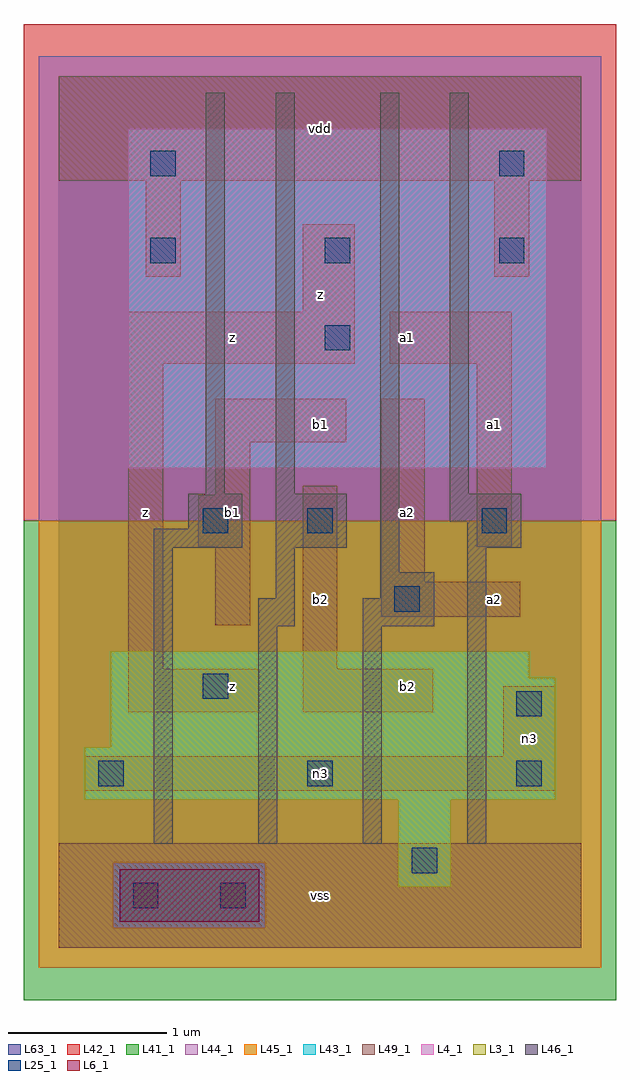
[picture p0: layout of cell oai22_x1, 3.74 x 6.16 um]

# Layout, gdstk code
import gdstk
lib = gdstk.Library(unit=1e-6, precision=1e-09)
def R(c, l, rs):  # rectangles x0, y0, x1, y1
    for r in rs: c.add(gdstk.rectangle(r[:2], r[2:], *l))
def A(c, l, x, y, w, h, nx, ny, dx, dy):  # array of equal rectangles
    R(c, l, [(x+i*dx, y+j*dy, x+i*dx+w, y+j*dy+h) for i in range(nx) for j in range(ny)])
L3_1 = (3, 1)
L4_1 = (4, 1)
L6_1 = (6, 1)
L25_1 = (25, 1)
L41_1 = (41, 1)
L42_1 = (42, 1)
L43_1 = (43, 1)
L44_1 = (44, 1)
L45_1 = (45, 1)
L46_1 = (46, 1)
L49_1 = (49, 1)
L63_1 = (63, 1)

oai22_x1 = lib.new_cell('oai22_x1')
R(oai22_x1, L3_1, [(2.145,0.385,2.475,0.935), (0.165,0.935,3.135,1.265), (0.33,1.265,3.135,1.705), (0.33,1.705,2.97,1.87)])
R(oai22_x1, L4_1, [(0.44,3.025,3.08,5.17)])
R(oai22_x1, L6_1, [(0.385,0.165,1.265,0.495)])
A(oai22_x1, L25_1, 0.25, 1.02, 0.16, 0.16, 3, 1, 1.32, 0)
A(oai22_x1, L25_1, 0.58, 4.32, 0.16, 0.16, 3, 1, 1.1, 0)
R(oai22_x1, L25_1, [(0.47,0.25,0.63,0.41), (1.02,0.25,1.18,0.41), (2.23,0.47,2.39,0.63), (2.89,1.46,3.05,1.62), (0.91,1.57,1.07,1.73), (2.12,2.12,2.28,2.28), (0.91,2.615,1.07,2.775), (1.57,2.615,1.73,2.775), (2.67,2.615,2.83,2.775), (1.68,3.77,1.84,3.93), (0.58,4.87,0.74,5.03), (2.78,4.87,2.94,5.03)])
R(oai22_x1, L41_1, [(-0.22,-0.33,3.52,2.695)])
R(oai22_x1, L42_1, [(-0.22,2.695,3.52,5.83)])
R(oai22_x1, L43_1, [(0.385,0.165,1.265,0.495), (2.145,0.385,2.475,0.935), (0.165,0.935,3.135,1.265), (0.33,1.265,3.135,1.705), (0.33,1.705,2.97,1.87), (0.44,3.025,3.08,5.17)])
R(oai22_x1, L44_1, [(0.345,0.125,1.305,0.535), (-0.125,2.695,3.425,5.625)])
R(oai22_x1, L45_1, [(-0.125,-0.125,3.425,0.125), (-0.125,0.125,0.345,0.535), (1.305,0.125,3.425,0.535), (-0.125,0.535,3.425,2.695)])
R(oai22_x1, L46_1, [(0.6,0.655,0.72,2.525), (1.26,0.655,1.38,2.03), (1.92,0.655,2.04,2.03), (2.58,0.655,2.7,2.525), (1.26,2.03,1.49,2.205), (1.92,2.03,2.37,2.205), (1.37,2.205,1.49,2.525), (2.03,2.205,2.37,2.37), (2.03,2.37,2.15,5.395), (0.6,2.525,1.16,2.645), (1.37,2.525,1.82,2.865), (2.58,2.525,2.92,2.69), (0.82,2.645,1.16,2.865), (2.47,2.69,2.92,2.865), (0.93,2.865,1.05,5.395), (1.37,2.865,1.49,5.395), (2.47,2.865,2.59,5.395)])
R(oai22_x1, L49_1, [(0,0,3.3,0.66), (0.165,0.99,3.135,1.21), (2.805,1.21,3.135,1.65), (0.44,1.485,1.265,1.76), (1.54,1.485,2.365,1.76), (0.44,1.76,0.66,3.685), (1.54,1.76,1.76,2.915), (0.99,2.035,1.21,2.53), (2.035,2.09,2.915,2.31), (2.035,2.31,2.31,3.465), (0.88,2.53,1.21,2.86), (2.64,2.53,2.86,3.685), (0.99,2.86,1.21,3.19), (0.99,3.19,1.815,3.465), (0.44,3.685,1.87,4.015), (2.09,3.685,2.86,4.015), (1.54,4.015,1.87,4.565), (0.55,4.235,0.77,4.84), (2.75,4.235,2.97,4.84), (0,4.84,3.3,5.5)])
R(oai22_x1, L63_1, [(0,0,3.3,5.5)])
oai22_x1.add(gdstk.Label('z', (1.1,1.65), layer=49, texttype=1))
oai22_x1.add(gdstk.Label('z', (1.1,1.65), layer=49, texttype=1))
oai22_x1.add(gdstk.Label('z', (0.55,2.75), layer=49, texttype=1))
oai22_x1.add(gdstk.Label('z', (0.55,2.75), layer=49, texttype=1))
oai22_x1.add(gdstk.Label('b1', (1.1,2.75), layer=49, texttype=1))
oai22_x1.add(gdstk.Label('b1', (1.1,2.75), layer=49, texttype=1))
oai22_x1.add(gdstk.Label('z', (1.1,3.85), layer=49, texttype=1))
oai22_x1.add(gdstk.Label('z', (1.1,3.85), layer=49, texttype=1))
oai22_x1.add(gdstk.Label('vss', (1.65,0.33), layer=49, texttype=1))
oai22_x1.add(gdstk.Label('vss', (1.65,0.33), layer=49, texttype=1))
oai22_x1.add(gdstk.Label('b2', (1.65,2.2), layer=49, texttype=1))
oai22_x1.add(gdstk.Label('b2', (1.65,2.2), layer=49, texttype=1))
oai22_x1.add(gdstk.Label('b1', (1.65,3.3), layer=49, texttype=1))
oai22_x1.add(gdstk.Label('b1', (1.65,3.3), layer=49, texttype=1))
oai22_x1.add(gdstk.Label('z', (1.65,4.125), layer=49, texttype=1))
oai22_x1.add(gdstk.Label('z', (1.65,4.125), layer=49, texttype=1))
oai22_x1.add(gdstk.Label('vdd', (1.65,5.17), layer=49, texttype=1))
oai22_x1.add(gdstk.Label('vdd', (1.65,5.17), layer=49, texttype=1))
oai22_x1.add(gdstk.Label('b2', (2.2,1.65), layer=49, texttype=1))
oai22_x1.add(gdstk.Label('b2', (2.2,1.65), layer=49, texttype=1))
oai22_x1.add(gdstk.Label('a2', (2.2,2.75), layer=49, texttype=1))
oai22_x1.add(gdstk.Label('a2', (2.2,2.75), layer=49, texttype=1))
oai22_x1.add(gdstk.Label('a1', (2.2,3.85), layer=49, texttype=1))
oai22_x1.add(gdstk.Label('a1', (2.2,3.85), layer=49, texttype=1))
oai22_x1.add(gdstk.Label('n3', (2.97,1.32), layer=49, texttype=1))
oai22_x1.add(gdstk.Label('n3', (1.65,1.1), layer=49, texttype=1))
oai22_x1.add(gdstk.Label('a2', (2.75,2.2), layer=49, texttype=1))
oai22_x1.add(gdstk.Label('a2', (2.75,2.2), layer=49, texttype=1))
oai22_x1.add(gdstk.Label('a1', (2.75,3.3), layer=49, texttype=1))
oai22_x1.add(gdstk.Label('a1', (2.75,3.3), layer=49, texttype=1))

lib.write_gds('oai22_x1.gds')
